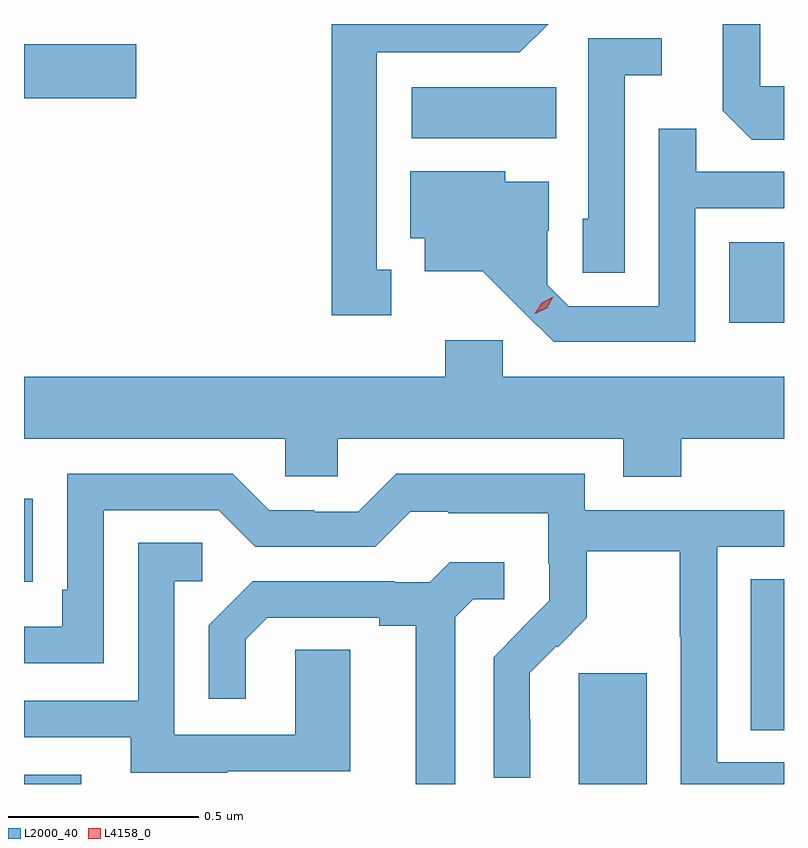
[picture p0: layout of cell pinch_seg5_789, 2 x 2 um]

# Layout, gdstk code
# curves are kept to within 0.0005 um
import gdstk
lib = gdstk.Library(unit=1e-6, precision=1e-09)
def R(c, l, rs):  # rectangles x0, y0, x1, y1
    for r in rs: c.add(gdstk.rectangle(r[:2], r[2:], *l))
def P(c, l, *ps):  # polygons
    for p in ps: c.add(gdstk.Polygon(p, *l))
L2000_40 = (2000, 40)
L4158_0 = (4158, 0)

pinch_seg5_789 = lib.new_cell('pinch_seg5_789')
R(pinch_seg5_789, L2000_40, [(796.806,910.464,796.957,910.488), (798.266,910.464,798.445,910.755), (798.719,910.606,798.806,911.003), (796.806,910.996,796.829,911.215), (798.662,911.678,798.806,911.89), (797.826,912.164,798.206,912.298), (796.806,912.269,797.101,912.411)])
P(pinch_seg5_789, L2000_40, [(798.806,912.3),(798.744,912.3),(798.744,912.464),(798.645,912.464),(798.645,912.236),(798.721,912.16),(798.806,912.16)],
  [(797.773,911.817),(797.734,911.817),(797.734,912.39),(798.111,912.39),(798.185,912.464),(797.616,912.464),(797.616,911.697),(797.773,911.697)],
  [(798.387,912.329),(798.484,912.329),(798.484,912.426),(798.291,912.426),(798.291,911.952),(798.276,911.952),(798.276,911.809),(798.387,911.809)],
  [(798.573,911.979),(798.806,911.979),(798.806,912.075),(798.575,912.075),(798.575,912.188),(798.477,912.188),(798.477,911.721),(798.24,911.721),(798.183,911.778),(798.183,911.92),(798.187,911.92),(798.187,912.049),(798.072,912.049),(798.072,912.076),(797.822,912.076),(797.822,911.9),(797.861,911.9),(797.861,911.813),(798.013,911.813),(798.2,911.628),(798.573,911.628)],
  [(798.536,911.372),(798.806,911.372),(798.806,911.536),(798.066,911.536),(798.066,911.632),(797.915,911.632),(797.915,911.536),(796.806,911.536),(796.806,911.372),(797.493,911.372),(797.493,911.274),(797.631,911.274),(797.631,911.372),(798.383,911.372),(798.383,911.273),(798.536,911.273)],
  [(798.806,910.521),(798.63,910.521),(798.63,911.088),(798.806,911.088),(798.806,911.184),(798.282,911.184),(798.282,911.281),(797.785,911.281),(797.685,911.181),(797.57,911.181),(797.57,911.184),(797.451,911.184),(797.355,911.28),(796.92,911.28),(796.92,910.975),(796.907,910.975),(796.907,910.878),(796.806,910.878),(796.806,910.782),(797.016,910.782),(797.016,911.184),(797.319,911.184),(797.415,911.088),(797.73,911.088),(797.823,911.181),(797.923,911.181),(797.923,911.177),(798.186,911.177),(798.186,911.043),(798.188,911.043),(798.188,910.946),(798.114,910.872),(798.115,910.871),(798.042,910.798),(798.042,910.48),(798.138,910.48),(798.138,910.634),(798.137,910.634),(798.137,910.757),(798.207,910.827),(798.21,910.824),(798.287,910.901),(798.287,911.076),(798.532,911.076),(798.532,910.852),(798.534,910.852),(798.534,910.464),(798.806,910.464)],
  [(797.341,910.497),(797.665,910.497),(797.665,910.817),(797.52,910.817),(797.52,910.593),(797.202,910.593),(797.202,910.998),(797.275,910.998),(797.275,911.099),(797.106,911.099),(797.106,910.683),(796.806,910.683),(796.806,910.587),(797.087,910.587),(797.087,910.493),(797.341,910.493)],
  [(797.941,910.903),(797.988,910.95),(798.07,910.95),(798.07,911.047),(797.926,911.047),(797.874,910.995),(797.78,910.995),(797.78,910.998),(797.408,910.998),(797.292,910.882),(797.292,910.689),(797.389,910.689),(797.389,910.845),(797.446,910.902),(797.741,910.902),(797.741,910.88),(797.837,910.88),(797.837,910.464),(797.941,910.464)])
P(pinch_seg5_789, L4158_0, [(798.15,911.701),(798.15,911.701),(798.168,911.731),(798.199,911.746),(798.199,911.746),(798.199,911.746),(798.181,911.716),(798.151,911.701)])

lib.write_gds('pinch_seg5_789.gds')
